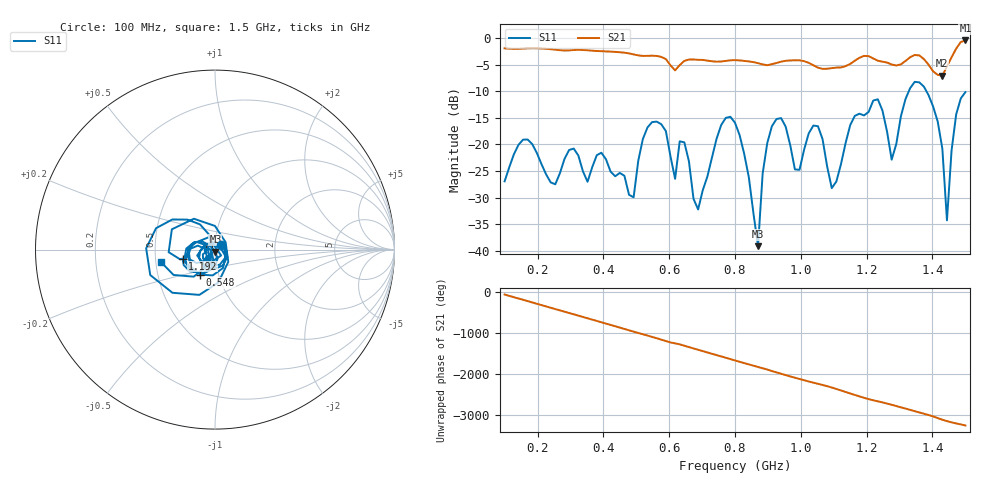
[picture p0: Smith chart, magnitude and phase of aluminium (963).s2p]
! NanoVNA-App
! Date: 2025-09-25 15:02:47
! Start: 100MHz Stop: 1,5GHz Points: 101
! S-Parameter data: F S11 S21 S12 S22
# Hz S RI R 50
!  Frequency  S11_Real  S11_Imag  S21_Real  S21_Imag  S12_Real  S12_Imag  S22_Real  S22_Imag
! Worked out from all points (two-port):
!   101 points, 100 MHz to 1.5 GHz, reference 50 ohm
!   highest |S21| = -0.44 dB at 1.5 GHz (marker M1); lowest = -7.1 dB at 1.43 GHz (marker M2)
!   |S21| within 3 dB of the highest: start of sweep to 568.4 MHz; 1.459 GHz to end of sweep (the widest 2 of 4)
!   lowest |S11| = -39.2 dB at 870 MHz (marker M3), VSWR 1.02, Z = 50.2 - j1.09 ohm
!   |S11| at or under -10 dB: start of sweep to 1.328 GHz; 1.382 GHz to end of sweep
!   S12 and S22 are empty: the file has one direction only
!   S11 on the Smith chart (normalised r, x): 100 MHz: 1.07, +0.06; 548 MHz: 0.82, -0.24; 1.192 GHz: 0.69, -0.07; 1.5 GHz: 0.53, -0.08
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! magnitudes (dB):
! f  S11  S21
! 100 MHz  -27.0  -1.9
! 156 MHz  -19.1  -2.0
! 338 MHz  -25.1  -2.2
! 492 MHz  -30.0  -3.1
! 548 MHz  -15.8  -3.3
! 576 MHz  -16.2  -3.5
! 646 MHz  -19.6  -4.3
! 688 MHz  -32.2  -4.1
! 800 MHz  -15.9  -4.1
! 870 MHz  -39.2  -4.7
! 912 MHz  -16.6  -4.9
! 996 MHz  -24.8  -4.2
! 1.038 GHz  -16.5  -5.1
! 1.094 GHz  -28.2  -5.6
! 1.192 GHz  -14.6  -3.3
! 1.234 GHz  -11.5  -4.3
! 1.276 GHz  -22.9  -5.0
! 1.346 GHz  -8.2  -3.2
! 1.43 GHz  -20.8  -7.1
! 1.444 GHz  -34.3  -5.3
! 1.472 GHz  -14.3  -2.0
! 1.5 GHz  -10.2  -0.4
